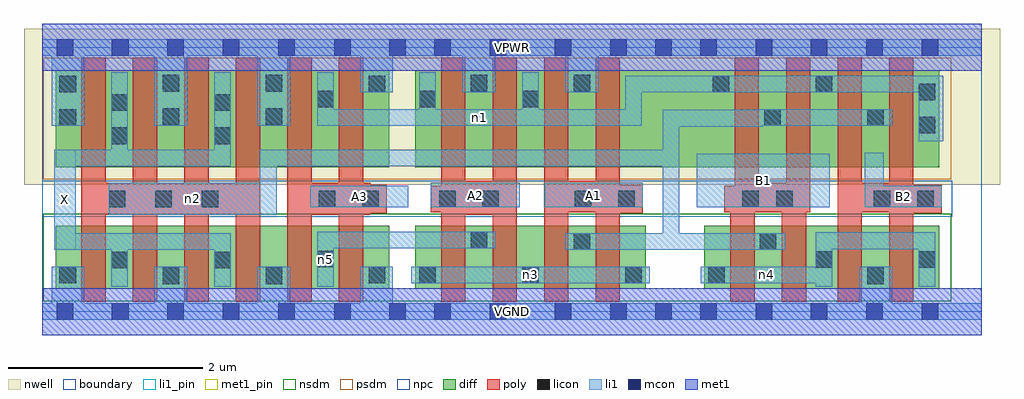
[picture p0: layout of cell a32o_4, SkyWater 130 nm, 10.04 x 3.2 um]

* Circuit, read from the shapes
.subckt a32o_4 A1 A2 A3 B1 B2 VGND VPWR X n1 n2 n3 n4 n5
XM1 X n2 VGND VSUBS sky130_fd_pr__nfet_01v8 w=0.65 l=0.25 m=4
XM2 n5 A3 VGND VSUBS sky130_fd_pr__nfet_01v8 w=0.65 l=0.25 m=2
XM3 n5 A2 n3 VSUBS sky130_fd_pr__nfet_01v8 w=0.65 l=0.25 m=2
XM4 n2 A1 n3 VSUBS sky130_fd_pr__nfet_01v8 w=0.65 l=0.25 m=2
XM5 n2 B1 n4 VSUBS sky130_fd_pr__nfet_01v8 w=0.65 l=0.25 m=2
XM6 VGND B2 n4 VSUBS sky130_fd_pr__nfet_01v8 w=0.65 l=0.25 m=2
XM7 X n2 VPWR n6 sky130_fd_pr__pfet_01v8 w=1 l=0.25 m=4
XM8 n1 A3 VPWR n6 sky130_fd_pr__pfet_01v8 w=1 l=0.25 m=2
XM9 VPWR A2 n1 n6 sky130_fd_pr__pfet_01v8 w=1 l=0.25 m=2
XM10 VPWR A1 n1 n6 sky130_fd_pr__pfet_01v8 w=1 l=0.25 m=2
XM11 n2 B1 n1 n6 sky130_fd_pr__pfet_01v8 w=1 l=0.25 m=2
XM12 n2 B2 n1 n6 sky130_fd_pr__pfet_01v8 w=1 l=0.25 m=2
.ends

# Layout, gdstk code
import gdstk
lib = gdstk.Library(unit=1e-6, precision=1e-09)
def R(c, l, rs):  # rectangles x0, y0, x1, y1
    for r in rs: c.add(gdstk.rectangle(r[:2], r[2:], *l))
def A(c, l, x, y, w, h, nx, ny, dx, dy):  # array of equal rectangles
    R(c, l, [(x+i*dx, y+j*dy, x+i*dx+w, y+j*dy+h) for i in range(nx) for j in range(ny)])
nwell = (64, 20)
diff = (65, 20)
poly = (66, 20)
licon = (66, 44)
li1_pin = (67, 16)
li1 = (67, 20)
mcon = (67, 44)
met1_pin = (68, 16)
met1 = (68, 20)
nsdm = (93, 44)
psdm = (94, 20)
npc = (95, 20)
boundary = (235, 4)

a32o_4 = lib.new_cell('a32o_4')
R(a32o_4, nwell, [(-0.19,1.305,9.85,2.91), (0,1.305,9.66,2.91)])
R(a32o_4, diff, [(0.135,0.235,3.565,0.885), (3.835,0.235,6.205,0.885), (6.81,0.235,9.225,0.885), (0.135,1.485,3.565,2.485), (3.835,1.485,9.225,2.485)])
A(a32o_4, poly, 0.4, 0.105, 0.25, 2.51, 6, 1, 0.53, 0)
A(a32o_4, poly, 4.1, 0.105, 0.25, 2.51, 4, 1, 0.53, 0)
R(a32o_4, poly, [(7.075,0.105,7.325,1.295), (7.605,0.105,7.65,1.325), (7.65,0.105,7.855,2.615), (8.18,0.105,8.43,2.615), (8.71,0.105,8.96,2.615), (0.4,0.995,2.24,1.325), (2.52,0.995,3.37,1.325), (4.1,0.995,4.88,1.345), (2.52,1.015,3.54,1.305), (5.69,1.015,6.175,1.305), (8.71,1.015,9.25,1.305), (3.995,1.025,4.88,1.295), (5.16,1.025,5.94,1.345), (7.015,1.025,7.9,1.295), (7.12,1.025,7.37,2.615), (7.12,1.025,7.9,1.325), (7.65,1.025,7.9,2.615), (8.18,1.025,8.96,1.325)])
A(a32o_4, licon, 3.875, 0.295, 0.17, 0.17, 3, 1, 1.06, 0)
A(a32o_4, licon, 0.68, 1.075, 0.17, 0.17, 3, 1, 0.48, 0)
R(a32o_4, licon, [(1.235,0.285,1.405,0.455), (2.295,0.285,2.465,0.455), (8.485,0.285,8.655,0.455), (0.175,0.295,0.345,0.465), (3.355,0.295,3.525,0.465), (6.85,0.295,7.02,0.465), (0.705,0.445,0.875,0.615), (1.765,0.445,1.935,0.615), (7.955,0.45,8.125,0.62), (9.015,0.45,9.185,0.62), (2.825,0.455,2.995,0.625), (5.465,0.635,5.635,0.805), (7.38,0.635,7.55,0.805), (4.405,0.655,4.575,0.825), (2.84,1.075,3.01,1.245), (3.29,1.075,3.46,1.245), (4.08,1.075,4.25,1.245), (4.525,1.075,4.695,1.245), (5.475,1.075,5.645,1.245), (5.925,1.075,6.095,1.245), (7.2,1.075,7.37,1.245), (7.55,1.075,7.72,1.245), (8.55,1.075,8.72,1.245), (9,1.075,9.17,1.245), (0.705,1.725,0.875,1.895), (1.765,1.725,1.935,1.895), (9.015,1.835,9.185,2.005), (0.175,1.915,0.345,2.085), (7.425,1.915,7.595,2.085), (8.485,1.915,8.655,2.085), (1.235,1.925,1.405,2.095), (2.295,1.925,2.465,2.095), (0.705,2.065,0.875,2.235), (1.765,2.065,1.935,2.235), (2.825,2.105,2.995,2.275), (3.875,2.105,4.045,2.275), (4.935,2.105,5.105,2.275), (9.015,2.175,9.185,2.345), (0.175,2.255,0.345,2.425), (3.355,2.255,3.525,2.425), (6.895,2.255,7.065,2.425), (7.955,2.255,8.125,2.425), (1.235,2.265,1.405,2.435), (2.295,2.265,2.465,2.435), (4.405,2.265,4.575,2.435), (5.465,2.265,5.635,2.435)])
R(a32o_4, li1_pin, [(0.12,0.635,0.34,1.665), (2.755,1.075,3.765,1.295), (3.995,1.075,4.91,1.325), (5.165,1.075,6.175,1.325), (6.73,1.075,8.1,1.625), (8.46,1.075,9.25,1.295)])
R(a32o_4, li1, [(0,-0.085,9.66,0.085), (0.095,-0.085,0.43,0.465), (1.15,-0.085,1.49,0.465), (2.21,-0.085,2.55,0.465), (3.27,-0.085,3.605,0.465), (8.4,-0.085,8.74,0.465), (0.705,0.255,0.875,0.805), (1.765,0.255,1.935,0.805), (2.825,0.255,2.995,0.825), (7.955,0.255,8.125,0.815), (9.015,0.255,9.185,0.815), (3.795,0.295,6.245,0.465), (6.77,0.295,8.125,0.465), (0.12,0.635,1.935,0.805), (0.12,0.635,0.34,1.665), (5.38,0.635,7.64,0.805), (6.38,0.635,6.55,2.075), (7.955,0.645,9.185,0.815), (2.825,0.655,4.66,0.825), (0.68,0.995,2.41,1.325), (2.235,0.995,2.41,1.665), (2.755,1.075,3.765,1.295), (3.995,1.075,4.91,1.325), (5.165,1.075,6.175,1.325), (6.73,1.075,8.1,1.625), (8.46,1.075,9.25,1.295), (8.46,1.075,8.655,1.635), (0.12,1.495,1.935,1.665), (0.705,1.495,0.875,2.465), (1.765,1.495,1.935,2.465), (2.235,1.495,6.55,1.665), (9.015,1.755,9.265,2.425), (6.38,1.905,7.41,1.915), (0.095,1.915,0.43,2.805), (1.15,1.915,1.49,2.805), (2.21,1.915,2.55,2.805), (2.825,1.915,2.995,2.465), (2.825,1.915,6.165,2.085), (3.875,1.915,4.045,2.465), (4.935,1.915,5.105,2.465), (5.995,1.915,6.165,2.425), (6.38,1.915,8.74,2.075), (7.34,1.915,8.74,2.085), (3.27,2.255,3.605,2.805), (4.32,2.255,4.66,2.805), (5.38,2.255,5.72,2.805), (5.995,2.255,9.265,2.425), (0,2.635,9.66,2.805)])
A(a32o_4, mcon, 0.145, -0.085, 0.17, 0.17, 5, 2, 0.57, 2.72)
A(a32o_4, mcon, 6.765, -0.085, 0.17, 0.17, 5, 2, 0.57, 2.72)
R(a32o_4, mcon, [(3,-0.085,3.17,0.085), (3.565,-0.085,3.735,0.085), (4.03,-0.085,4.2,0.085), (4.6,-0.085,4.77,0.085), (5.27,-0.085,5.44,0.085), (5.84,-0.085,6.01,0.085), (6.305,-0.085,6.475,0.085), (3,2.635,3.17,2.805), (3.565,2.635,3.735,2.805), (4.03,2.635,4.2,2.805), (4.6,2.635,4.77,2.805), (5.27,2.635,5.44,2.805), (5.84,2.635,6.01,2.805), (6.305,2.635,6.475,2.805)])
R(a32o_4, met1_pin, [(0,-0.24,9.66,0.24), (0,2.48,9.66,2.96)])
R(a32o_4, met1, [(0,-0.24,9.66,0.24), (0,2.48,9.66,2.96)])
R(a32o_4, nsdm, [(0.01,0.11,9.35,1.01)])
R(a32o_4, psdm, [(0.01,1.36,9.35,2.61)])
R(a32o_4, npc, [(0,0.975,9.36,1.345)])
R(a32o_4, boundary, [(0,0,9.66,2.72)])
a32o_4.add(gdstk.Label('A1', (5.67,1.2), layer=67, texttype=5))
a32o_4.add(gdstk.Label('A2', (4.452,1.2), layer=67, texttype=5))
a32o_4.add(gdstk.Label('A3', (3.26,1.185), layer=67, texttype=5))
a32o_4.add(gdstk.Label('B1', (7.415,1.35), layer=67, texttype=5))
a32o_4.add(gdstk.Label('B2', (8.855,1.185), layer=67, texttype=5))
a32o_4.add(gdstk.Label('X', (0.23,1.15), layer=67, texttype=5))
a32o_4.add(gdstk.Label('n3', (5.02,0.38), layer=67, texttype=5))
a32o_4.add(gdstk.Label('n4', (7.447,0.38), layer=67, texttype=5))
a32o_4.add(gdstk.Label('n5', (2.91,0.54), layer=67, texttype=5))
a32o_4.add(gdstk.Label('n2', (1.545,1.16), layer=67, texttype=5))
a32o_4.add(gdstk.Label('n1', (4.495,2), layer=67, texttype=5))
a32o_4.add(gdstk.Label('VPWR', (4.83,2.72), layer=68, texttype=5))
a32o_4.add(gdstk.Label('VGND', (4.83,0), layer=68, texttype=5))
a32o_4.add(gdstk.Label('A1', (5.67,1.2), layer=67, texttype=16))
a32o_4.add(gdstk.Label('A2', (4.452,1.2), layer=67, texttype=16))
a32o_4.add(gdstk.Label('A3', (3.26,1.185), layer=67, texttype=16))
a32o_4.add(gdstk.Label('B1', (7.415,1.35), layer=67, texttype=16))
a32o_4.add(gdstk.Label('B2', (8.855,1.185), layer=67, texttype=16))
a32o_4.add(gdstk.Label('X', (0.23,1.15), layer=67, texttype=16))
a32o_4.add(gdstk.Label('VPWR', (4.83,2.72), layer=68, texttype=16))
a32o_4.add(gdstk.Label('VGND', (4.83,0), layer=68, texttype=16))

lib.write_gds('a32o_4.gds')
